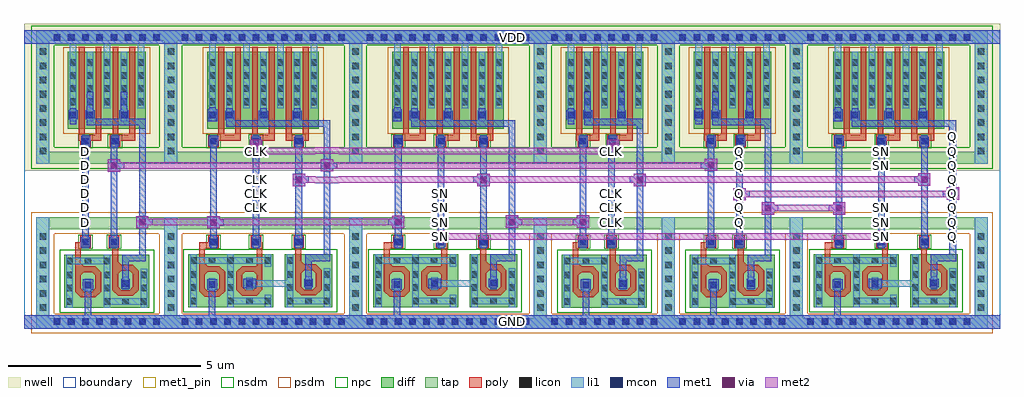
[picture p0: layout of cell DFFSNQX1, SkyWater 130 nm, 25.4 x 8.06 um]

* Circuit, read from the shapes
.subckt DFFSNQX1 CLK D GND Q SN VDD
XM1 n1 D GND GND sky130_fd_pr__nfet_01v8 w=2.6 l=0.1471
XM2 n1 n2 n3 GND sky130_fd_pr__nfet_01v8 w=2.56 l=0.1483
XM3 n4 n3 GND GND sky130_fd_pr__nfet_01v8 w=2.6 l=0.1482
XM4 n4 CLK n5 GND sky130_fd_pr__nfet_01v8 w=2.52 l=0.1455
XM5 n5 n6 n2 GND sky130_fd_pr__nfet_01v8 w=2.56 l=0.1457
XM6 n7 n3 GND GND sky130_fd_pr__nfet_01v8 w=2.6 l=0.1486
XM7 n7 SN n8 GND sky130_fd_pr__nfet_01v8 w=2.52 l=0.1455
XM8 n8 n6 n9 GND sky130_fd_pr__nfet_01v8 w=2.56 l=0.1455
XM9 n10 n9 GND GND sky130_fd_pr__nfet_01v8 w=2.6 l=0.1473
XM10 n10 CLK n6 GND sky130_fd_pr__nfet_01v8 w=2.56 l=0.1481
XM11 n11 n2 GND GND sky130_fd_pr__nfet_01v8 w=2.6 l=0.1472
XM12 n11 Q n12 GND sky130_fd_pr__nfet_01v8 w=2.56 l=0.1483
XM13 n13 n12 GND GND sky130_fd_pr__nfet_01v8 w=2.6 l=0.1486
XM14 n13 SN n14 GND sky130_fd_pr__nfet_01v8 w=2.52 l=0.1458
XM15 n14 n6 Q GND sky130_fd_pr__nfet_01v8 w=2.56 l=0.1459
XM16 n3 D VDD VDD sky130_fd_pr__pfet_01v8 w=2 l=0.15 m=2
XM17 n3 n2 VDD VDD sky130_fd_pr__pfet_01v8 w=2 l=0.15 m=2
XM18 n2 n3 VDD VDD sky130_fd_pr__pfet_01v8 w=2 l=0.15 m=2
XM19 n2 CLK VDD VDD sky130_fd_pr__pfet_01v8 w=2 l=0.15 m=2
XM20 n2 n6 VDD VDD sky130_fd_pr__pfet_01v8 w=2 l=0.15 m=2
XM21 n9 n3 VDD VDD sky130_fd_pr__pfet_01v8 w=2 l=0.15 m=2
XM22 n9 SN VDD VDD sky130_fd_pr__pfet_01v8 w=2 l=0.15 m=2
XM23 n9 n6 VDD VDD sky130_fd_pr__pfet_01v8 w=2 l=0.15 m=2
XM24 n6 n9 VDD VDD sky130_fd_pr__pfet_01v8 w=2 l=0.15 m=2
XM25 n6 CLK VDD VDD sky130_fd_pr__pfet_01v8 w=2 l=0.15 m=2
XM26 n12 n2 VDD VDD sky130_fd_pr__pfet_01v8 w=2 l=0.15 m=2
XM27 n12 Q VDD VDD sky130_fd_pr__pfet_01v8 w=2 l=0.15 m=2
XM28 Q n12 VDD VDD sky130_fd_pr__pfet_01v8 w=2 l=0.15 m=2
XM29 Q SN VDD VDD sky130_fd_pr__pfet_01v8 w=2 l=0.15 m=2
XM30 Q n6 VDD VDD sky130_fd_pr__pfet_01v8 w=2 l=0.15 m=2
.ends

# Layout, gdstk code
from math import pi, radians
import gdstk
lib = gdstk.Library(unit=1e-6, precision=1e-09)
def R(c, l, rs):  # rectangles x0, y0, x1, y1
    for r in rs: c.add(gdstk.rectangle(r[:2], r[2:], *l))
def A(c, l, x, y, w, h, nx, ny, dx, dy):  # array of equal rectangles
    R(c, l, [(x+i*dx, y+j*dy, x+i*dx+w, y+j*dy+h) for i in range(nx) for j in range(ny)])
def P(c, l, *ps):  # polygons
    for p in ps: c.add(gdstk.Polygon(p, *l))
nwell = (64, 20)
diff = (65, 20)
tap = (65, 44)
poly = (66, 20)
licon = (66, 44)
li1 = (67, 20)
mcon = (67, 44)
met1_pin = (68, 16)
met1 = (68, 20)
via = (68, 44)
met2 = (69, 20)
nsdm = (93, 44)
psdm = (94, 20)
npc = (95, 20)
boundary = (235, 4)

li1_m1_contact = lib.new_cell('li1_M1_contact')
R(li1_m1_contact, li1, [(-0.085,-0.165,0.085,0.165)])
R(li1_m1_contact, mcon, [(-0.085,-0.085,0.085,0.085)])
R(li1_m1_contact, met1, [(-0.115,-0.115,0.115,-0.085), (-0.265,-0.085,0.145,0.085), (-0.115,0.085,0.115,0.115)])

diff_ring_side = lib.new_cell('diff_ring_side')
R(diff_ring_side, nwell, [(-0.435,3.93,0.435,7.75)])
R(diff_ring_side, tap, [(-0.17,-0.17,0.17,2.72), (-0.17,4.11,0.17,7.57)])
A(diff_ring_side, licon, -0.085, 0.285, 0.17, 0.17, 1, 6, 0, 0.37)
A(diff_ring_side, licon, -0.085, 4.355, 0.17, 0.17, 1, 8, 0, 0.37)
R(diff_ring_side, li1, [(-0.17,-0.17,0.17,2.72), (-0.17,4.11,0.17,7.57)])
R(diff_ring_side, met1, [(-0.17,-0.17,0.17,0.17), (-0.17,7.23,0.17,7.57)])
R(diff_ring_side, nsdm, [(-0.295,3.985,0.295,7.695)])
R(diff_ring_side, psdm, [(-0.295,-0.295,0.295,2.845)])

nmos_bottom = lib.new_cell('nmos_bottom')
R(nmos_bottom, diff, [(0,0,1.24,1.38)])
R(nmos_bottom, poly, [(0.43,0.27,0.81,0.42), (0.28,0.42,0.43,0.925), (0.81,0.42,0.96,0.925), (0.43,0.925,0.96,1.075), (0.81,1.075,0.96,1.51)])
P(nmos_bottom, poly, [(0.73,1.075),(0.81,1.075),(0.81,1.155)],
  [(0.28,0.925),(0.43,0.925),(0.43,1.075)],
  [(0.43,0.845),(0.43,0.925),(0.51,0.925)],
  [(0.73,0.925),(0.81,0.925),(0.81,0.845)],
  [(0.43,0.5),(0.43,0.42),(0.51,0.42)],
  [(0.73,0.42),(0.81,0.42),(0.81,0.5)],
  [(0.28,0.42),(0.43,0.42),(0.43,0.27)],
  [(0.81,0.27),(0.81,0.42),(0.96,0.42)])
A(nmos_bottom, licon, 0.05, 1.13, 0.17, 0.17, 3, 1, 0.485, 0)
R(nmos_bottom, licon, [(0.05,0.08,0.22,0.25), (1.02,0.08,1.19,0.25), (0.05,0.43,0.22,0.6), (1.02,0.43,1.19,0.6), (0.535,0.505,0.705,0.675), (0.05,0.77,0.22,0.94), (1.02,0.77,1.19,0.94)])
R(nmos_bottom, li1, [(0.05,0,0.22,1.13), (1.02,0,1.19,1.13), (0.535,0.425,0.705,0.755), (0.05,1.13,1.19,1.3), (0.05,1.3,0.22,1.38), (1.02,1.3,1.19,1.38)])
R(nmos_bottom, nsdm, [(-0.125,-0.125,1.365,1.505)])

pmos2 = lib.new_cell('pmos2')
R(pmos2, nwell, [(0.26,-2.18,1.76,0.18)])
R(pmos2, diff, [(0.44,-2,1.58,0)])
R(pmos2, poly, [(0.72,-2.305,1.31,-2.155), (0.72,-2.155,0.87,0.13), (1.16,-2.155,1.31,0.13)])
A(pmos2, licon, 0.49, -1.38, 0.17, 0.17, 3, 4, 0.44, 0.34)
R(pmos2, li1, [(0.49,-1.465,0.66,0.21), (0.93,-1.465,1.1,0), (1.37,-1.465,1.54,0.21)])
R(pmos2, psdm, [(0.315,-2.125,1.705,0.125)])

poly_li1_contact = lib.new_cell('poly_li1_contact')
R(poly_li1_contact, poly, [(-0.16,-0.14,0.17,0.13)])
R(poly_li1_contact, licon, [(-0.08,-0.09,0.09,0.08)])
R(poly_li1_contact, li1, [(-0.16,-0.09,0.17,0.08)])
R(poly_li1_contact, npc, [(-0.18,-0.19,0.19,0.18)])

nmos_top_trim1 = lib.new_cell('nmos_top_trim1')
R(nmos_top_trim1, diff, [(0,0,1.24,1.38)])
R(nmos_top_trim1, poly, [(0.43,0.31,0.81,0.46), (0.28,0.46,0.43,0.965), (0.81,0.46,0.96,0.965), (0.43,0.965,0.96,1.115), (0.81,1.115,0.96,1.545)])
P(nmos_top_trim1, poly, [(0.73,1.115),(0.81,1.115),(0.81,1.195)],
  [(0.28,0.965),(0.43,0.965),(0.43,1.115)],
  [(0.43,0.885),(0.43,0.965),(0.51,0.965)],
  [(0.73,0.965),(0.81,0.965),(0.81,0.885)],
  [(0.43,0.54),(0.43,0.46),(0.51,0.46)],
  [(0.73,0.46),(0.81,0.46),(0.81,0.54)],
  [(0.28,0.46),(0.43,0.46),(0.43,0.31)],
  [(0.81,0.31),(0.81,0.46),(0.96,0.46)])
A(nmos_top_trim1, licon, 0.05, 0.08, 0.17, 0.17, 3, 1, 0.485, 0)
R(nmos_top_trim1, licon, [(0.05,0.43,0.22,0.6), (1.02,0.43,1.19,0.6), (0.535,0.55,0.705,0.72), (0.05,0.77,0.22,0.94), (1.02,0.77,1.19,0.94), (1.02,1.13,1.19,1.3)])
R(nmos_top_trim1, li1, [(0.05,0,0.22,0.08), (1.02,0,1.19,0.08), (0.05,0.08,1.19,0.25), (0.05,0.25,0.22,1.02), (1.02,0.25,1.19,1.38), (0.535,0.47,0.705,0.805)])
R(nmos_top_trim1, nsdm, [(-0.125,-0.125,1.365,1.505)])

nand2x1_pcell = lib.new_cell('nand2x1_pcell')
R(nand2x1_pcell, nwell, [(0.435,3.93,2.895,7.75)])
R(nand2x1_pcell, diff, [(1.115,5.265,1.345,5.5), (1.995,5.265,2.225,5.5), (0.705,5.295,0.875,5.465)])
R(nand2x1_pcell, tap, [(0.17,-0.17,3.16,-0.15), (0.155,-0.15,3.175,0.085), (0.155,2.4,0.17,2.41), (3.16,2.4,3.175,2.41), (0.155,2.41,3.175,2.71), (0.17,2.71,3.16,2.72), (0.17,4.11,3.16,4.42), (0.17,7.315,3.16,7.57)])
R(nand2x1_pcell, poly, [(0.84,1.875,0.99,2.065), (1.81,1.91,1.96,1.915)])
A(nand2x1_pcell, licon, 0.285, -0.085, 0.17, 0.17, 8, 2, 0.37, 7.4)
R(nand2x1_pcell, licon, [(0.705,5.295,0.875,5.465), (1.145,5.295,1.315,5.465), (2.025,5.295,2.195,5.465)])
R(nand2x1_pcell, li1, [(0.165,-0.17,3.295,0.17), (1.095,0.87,1.265,1.04), (2.065,0.915,2.235,1.085), (1.025,1.995,1.195,2.165), (1.765,1.995,1.935,2.165), (1.025,4.615,1.195,4.785), (1.795,4.615,1.965,4.785), (0.705,5.215,0.875,5.61), (1.145,5.215,1.315,5.61), (2.025,5.215,2.195,5.61), (-0.17,7.23,3.17,7.57)])
A(nand2x1_pcell, mcon, 0.285, -0.085, 0.17, 0.17, 8, 2, 0.37, 7.4)
R(nand2x1_pcell, mcon, [(1.095,0.87,1.265,1.04), (2.065,0.915,2.235,1.085), (1.025,1.995,1.195,2.165), (1.765,1.995,1.935,2.165), (1.025,4.615,1.195,4.785), (1.795,4.615,1.965,4.785), (0.705,5.295,0.875,5.465), (1.145,5.295,1.315,5.465), (2.025,5.295,2.195,5.465)])
R(nand2x1_pcell, met1, [(-0.17,-0.17,3.5,0.17), (1.095,0.17,1.265,0.825), (1.045,0.825,1.31,1.1), (2.035,0.855,2.265,1.12), (2.065,1.12,2.235,1.57), (2.065,1.57,2.675,1.74), (2.505,1.74,2.675,5.115), (0.99,1.935,1.23,2.205), (1.735,1.935,1.97,2.205), (1.025,2.205,1.195,4.56), (1.765,2.205,1.935,4.555), (1.765,4.555,1.97,4.58), (0.995,4.56,1.23,4.845), (1.765,4.58,1.995,4.845), (1.145,5.115,2.675,5.265), (0.705,5.135,0.875,5.265), (0.675,5.265,0.905,5.5), (1.115,5.265,2.675,5.285), (1.115,5.285,1.345,5.5), (1.995,5.285,2.225,5.5), (0.705,5.5,0.875,5.555), (1.145,5.5,1.315,5.98), (2.025,5.5,2.195,5.98), (-0.17,7.23,3.5,7.57)])
R(nand2x1_pcell, nsdm, [(0.045,3.985,3.285,4.545), (0.045,7.19,3.285,7.695)])
R(nand2x1_pcell, psdm, [(0.045,-0.295,3.285,-0.275), (0.03,-0.275,3.3,0.21), (0.03,2.275,0.295,2.285), (3.035,2.275,3.3,2.285), (0.03,2.285,3.3,2.835), (0.045,2.835,3.285,2.845), (0.99,5.14,1.47,5.17), (1.87,5.14,2.35,5.625), (0.58,5.17,1.47,5.59), (0.99,5.59,1.47,5.625)])
nand2x1_pcell.add(gdstk.Reference(diff_ring_side, (0,0)))
nand2x1_pcell.add(gdstk.Reference(nmos_bottom, (1.8,0.365), rotation=pi, x_reflection=True))
nand2x1_pcell.add(gdstk.Reference(pmos2, (0.215,7.02)))
nand2x1_pcell.add(gdstk.Reference(poly_li1_contact, (1.115,4.705), rotation=3*pi/2))
nand2x1_pcell.add(gdstk.Reference(poly_li1_contact, (1.115,2.085), rotation=3*pi/2))
nand2x1_pcell.add(gdstk.Reference(nmos_top_trim1, (2.77,0.365), rotation=pi, x_reflection=True))
nand2x1_pcell.add(gdstk.Reference(pmos2, (1.095,7.02)))
nand2x1_pcell.add(gdstk.Reference(poly_li1_contact, (1.845,2.075), rotation=pi/2))
nand2x1_pcell.add(gdstk.Reference(poly_li1_contact, (1.885,4.705), rotation=3*pi/2))
nand2x1_pcell.add(gdstk.Reference(diff_ring_side, (3.33,0)))

nmos_side_left = lib.new_cell('nmos_side_left')
R(nmos_side_left, diff, [(0,0,1.24,1.38)])
R(nmos_side_left, poly, [(0.435,0.305,0.81,0.455), (0.285,0.455,0.435,0.925), (0.81,0.455,0.96,0.925), (0.435,0.925,0.96,1.075), (0.81,1.075,0.96,1.51)])
P(nmos_side_left, poly, [(0.285,0.925),(0.435,0.925),(0.435,1.075)],
  [(0.435,0.845),(0.435,0.925),(0.515,0.925)],
  [(0.73,0.925),(0.81,0.925),(0.81,0.845)],
  [(0.435,0.535),(0.435,0.455),(0.515,0.455)],
  [(0.73,0.455),(0.81,0.455),(0.81,0.535)],
  [(0.285,0.455),(0.435,0.455),(0.435,0.305)],
  [(0.81,0.305),(0.81,0.455),(0.96,0.455)])
A(nmos_side_left, licon, 0.05, 0.08, 0.17, 0.17, 3, 2, 0.485, 1.05)
R(nmos_side_left, licon, [(0.05,0.43,0.22,0.6), (0.54,0.535,0.71,0.705), (0.05,0.77,0.22,0.94)])
R(nmos_side_left, li1, [(0.05,0,0.22,0.08), (1.02,0,1.19,0.08), (0.05,0.08,1.19,0.25), (0.05,0.25,0.22,1.13), (1.02,0.25,1.19,0.33), (0.54,0.455,0.71,0.785), (1.02,1.05,1.19,1.13), (0.05,1.13,1.19,1.3), (0.05,1.3,0.22,1.38), (1.02,1.3,1.19,1.38)])
R(nmos_side_left, nsdm, [(-0.125,-0.125,1.365,1.505)])

nand3x1_pcell = lib.new_cell('nand3x1_pcell')
R(nand3x1_pcell, nwell, [(0.435,3.93,4.375,5.28), (0.435,5.28,1.1,5.295), (1.395,5.28,4.375,5.495), (0.435,5.295,1.025,5.465), (1.145,5.295,1.315,5.465), (0.435,5.465,1.1,5.495), (0.435,5.495,4.375,7.75)])
A(nand3x1_pcell, diff, 1.445, 5.295, 0.17, 0.17, 3, 1, 0.88, 0)
R(nand3x1_pcell, diff, [(1.005,5.295,1.175,5.465)])
R(nand3x1_pcell, tap, [(0.17,-0.17,4.64,0.085), (0.17,2.41,4.64,2.72), (0.17,4.11,4.64,4.42), (0.17,7.315,4.64,7.57)])
R(nand3x1_pcell, poly, [(0.735,1.885,0.885,1.915), (2.235,1.885,2.385,1.915), (0.735,1.915,0.975,2.065), (2.355,1.915,2.385,2.065)])
A(nand3x1_pcell, licon, 0.285, -0.085, 0.17, 0.17, 12, 2, 0.37, 7.4)
A(nand3x1_pcell, licon, 1.445, 5.295, 0.17, 0.17, 3, 1, 0.88, 0)
R(nand3x1_pcell, licon, [(1.005,5.295,1.175,5.465)])
A(nand3x1_pcell, li1, 1.025, 1.995, 0.17, 0.17, 3, 2, 1.11, 2.62)
R(nand3x1_pcell, li1, [(0.17,-0.17,4.65,0.17), (0.99,0.88,1.16,1.05), (1.965,0.91,3.015,1.08), (3.5,0.925,3.67,1.095), (1.005,5.215,1.175,5.6), (1.445,5.215,1.615,5.56), (2.325,5.215,2.495,5.585), (3.205,5.215,3.375,5.56), (0.07,7.23,4.715,7.57)])
A(nand3x1_pcell, mcon, 0.285, -0.085, 0.17, 0.17, 12, 2, 0.37, 7.4)
A(nand3x1_pcell, mcon, 1.025, 1.995, 0.17, 0.17, 3, 2, 1.11, 2.62)
A(nand3x1_pcell, mcon, 1.445, 5.295, 0.17, 0.17, 3, 1, 0.88, 0)
R(nand3x1_pcell, mcon, [(0.99,0.88,1.16,1.05), (1.965,0.91,2.135,1.08), (3.5,0.925,3.67,1.095), (1.005,5.295,1.175,5.465)])
A(nand3x1_pcell, met1, 1.025, 1.915, 0.17, 0.04, 3, 1, 1.11, 0)
A(nand3x1_pcell, met1, 1.445, 5.495, 0.17, 0.06, 3, 1, 0.88, 0)
R(nand3x1_pcell, met1, [(0.17,-0.17,4.64,0.17), (0.99,0.17,1.16,0.835), (0.945,0.835,1.205,1.11), (1.89,0.865,2.225,1.115), (3.5,0.865,3.67,0.895), (3.47,0.895,3.7,1.125), (3.5,1.125,3.67,1.58), (3.5,1.58,4.155,1.75), (3.985,1.75,4.155,5.07), (0.995,1.955,1.225,2.195), (2.105,1.955,2.34,2.195), (3.215,1.955,3.445,2.195), (1.025,2.195,1.195,4.575), (2.135,2.195,2.305,4.585), (3.245,2.195,3.415,4.57), (3.215,4.57,3.445,4.815), (0.99,4.575,1.23,4.835), (2.105,4.585,2.335,4.815), (2.135,4.815,2.305,4.845), (3.245,4.815,3.415,4.845), (1.025,4.835,1.195,4.845), (1.445,5.07,4.155,5.24), (0.965,5.215,1.205,5.535), (1.415,5.24,1.65,5.495), (2.29,5.24,2.53,5.495), (3.175,5.24,3.405,5.495), (1.005,5.535,1.175,5.58), (0.17,7.23,4.64,7.57)])
R(nand3x1_pcell, nsdm, [(2.79,0.25,2.84,1.88), (0.045,3.985,4.765,4.545), (0.045,7.19,4.765,7.695)])
R(nand3x1_pcell, psdm, [(0.045,-0.295,4.765,0.21), (0.045,2.285,4.765,2.845), (0.88,5.17,1.74,5.59), (2.2,5.17,2.62,5.59), (3.08,5.17,3.5,5.59)])
nand3x1_pcell.add(gdstk.Reference(diff_ring_side, (0,0)))
nand3x1_pcell.add(gdstk.Reference(nmos_bottom, (1.695,0.375), rotation=pi, x_reflection=True))
nand3x1_pcell.add(gdstk.Reference(pmos2, (0.515,7.02)))
nand3x1_pcell.add(gdstk.Reference(poly_li1_contact, (1.115,4.705), rotation=3*pi/2))
nand3x1_pcell.add(gdstk.Reference(poly_li1_contact, (1.105,2.075), rotation=pi/2))
nand3x1_pcell.add(gdstk.Reference(nmos_side_left, (1.425,0.375)))
nand3x1_pcell.add(gdstk.Reference(pmos2, (1.395,7.02)))
nand3x1_pcell.add(gdstk.Reference(pmos2, (2.275,7.02)))
nand3x1_pcell.add(gdstk.Reference(poly_li1_contact, (2.215,2.075), rotation=pi/2))
nand3x1_pcell.add(gdstk.Reference(poly_li1_contact, (2.215,4.695), rotation=pi/2))
nand3x1_pcell.add(gdstk.Reference(nmos_top_trim1, (4.205,0.375), rotation=pi, x_reflection=True))
nand3x1_pcell.add(gdstk.Reference(poly_li1_contact, (3.325,2.075), rotation=pi/2))
nand3x1_pcell.add(gdstk.Reference(poly_li1_contact, (3.335,4.705), rotation=3*pi/2))
nand3x1_pcell.add(gdstk.Reference(diff_ring_side, (4.81,0)))

dffsnx1_pcell = lib.new_cell('dffsnx1_pcell')
R(dffsnx1_pcell, met1, [(10.2,2.05,10.52,2.37), (21.66,2.05,21.98,2.37), (2.43,2.43,2.75,2.75), (4.28,2.43,4.6,2.75), (9.09,2.435,9.41,2.755), (12.05,2.445,12.37,2.765), (13.895,2.445,14.215,2.765), (6.505,3.525,6.825,3.845), (11.31,3.525,11.63,3.845), (15.375,3.525,15.695,3.845), (22.78,3.545,23.1,3.865), (1.69,3.905,2.01,4.225), (7.235,3.91,7.555,4.23), (17.23,3.925,17.55,4.245), (14.675,4.41,14.995,4.73), (5.39,4.415,5.71,4.735)])
R(dffsnx1_pcell, via, [(10.285,2.135,10.435,2.285), (21.745,2.135,21.895,2.285), (2.515,2.515,2.665,2.665), (4.365,2.515,4.515,2.665), (9.175,2.52,9.325,2.67), (12.135,2.53,12.285,2.68), (13.98,2.53,14.13,2.68), (6.59,3.61,6.74,3.76), (11.395,3.61,11.545,3.76), (15.46,3.61,15.61,3.76), (22.865,3.63,23.015,3.78), (1.775,3.99,1.925,4.14), (7.32,3.995,7.47,4.145), (17.315,4.01,17.465,4.16), (14.76,4.495,14.91,4.645), (5.475,4.5,5.625,4.65)])
R(dffsnx1_pcell, met2, [(10.2,2.05,10.52,2.135), (21.66,2.05,21.98,2.135), (10.2,2.135,21.98,2.305), (10.2,2.305,10.52,2.37), (21.66,2.305,21.98,2.37), (2.43,2.43,2.75,2.505), (4.28,2.43,4.6,2.505), (9.09,2.435,9.41,2.505), (12.05,2.445,12.37,2.505), (13.895,2.445,14.215,2.505), (2.43,2.505,9.41,2.675), (12.05,2.505,14.215,2.675), (2.43,2.675,2.75,2.75), (4.28,2.675,4.6,2.75), (9.09,2.675,9.41,2.755), (12.05,2.675,12.37,2.765), (13.895,2.675,14.215,2.765), (6.505,3.525,6.825,3.615), (11.31,3.525,11.63,3.615), (15.375,3.525,15.695,3.615), (22.78,3.545,23.1,3.615), (7.095,3.6,7.695,3.615), (6.505,3.615,23.1,3.77), (6.505,3.77,7.095,3.785), (7.695,3.77,23.1,3.785), (6.505,3.785,6.825,3.845), (11.31,3.785,11.63,3.845), (15.375,3.785,15.695,3.845), (22.78,3.785,23.1,3.865), (1.69,3.905,2.01,3.985), (7.235,3.91,7.555,3.985), (17.23,3.925,17.55,3.985), (1.69,3.985,17.55,4.155), (1.69,4.155,2.01,4.225), (7.235,4.155,7.555,4.23), (17.23,4.155,17.55,4.245), (5.465,4.355,7.095,4.37), (7.695,4.355,14.905,4.37), (5.465,4.37,14.905,4.41), (5.465,4.41,14.995,4.415), (5.39,4.415,14.995,4.525), (5.39,4.525,5.71,4.735), (7.095,4.525,7.695,4.54), (14.675,4.525,14.995,4.73)])
dffsnx1_pcell.add(gdstk.Reference(li1_m1_contact, (1.85,4.07), rotation=pi))
dffsnx1_pcell.add(gdstk.Reference(li1_m1_contact, (2.59,2.59), rotation=pi))
dffsnx1_pcell.add(gdstk.Reference(li1_m1_contact, (4.44,2.585), rotation=pi))
dffsnx1_pcell.add(gdstk.Reference(nand2x1_pcell, (0,0)))
dffsnx1_pcell.add(gdstk.Reference(nand3x1_pcell, (3.33,0)))
dffsnx1_pcell.add(gdstk.Reference(li1_m1_contact, (6.66,3.7), rotation=pi))
dffsnx1_pcell.add(gdstk.Reference(li1_m1_contact, (9.25,2.59)))
dffsnx1_pcell.add(gdstk.Reference(li1_m1_contact, (7.395,4.07), rotation=pi))
dffsnx1_pcell.add(gdstk.Reference(nand3x1_pcell, (8.14,0)))
dffsnx1_pcell.add(gdstk.Reference(li1_m1_contact, (15.54,3.7)))
dffsnx1_pcell.add(gdstk.Reference(li1_m1_contact, (11.47,3.7)))
dffsnx1_pcell.add(gdstk.Reference(li1_m1_contact, (12.21,2.59), rotation=pi))
dffsnx1_pcell.add(gdstk.Reference(li1_m1_contact, (14.06,2.59)))
dffsnx1_pcell.add(gdstk.Reference(nand2x1_pcell, (12.95,0)))
dffsnx1_pcell.add(gdstk.Reference(nand2x1_pcell, (16.28,0)))
dffsnx1_pcell.add(gdstk.Reference(li1_m1_contact, (17.39,4.07)))
dffsnx1_pcell.add(gdstk.Reference(nand3x1_pcell, (19.61,0)))
dffsnx1_pcell.add(gdstk.Reference(li1_m1_contact, (22.94,3.7)))

dffsnqx1 = lib.new_cell('DFFSNQX1')
R(dffsnqx1, nwell, [(0,4.11,25.4,7.94)])
R(dffsnqx1, tap, [(0.32,0,25.08,0.105), (0.32,7.75,25.08,7.76)])
R(dffsnqx1, li1, [(0,0,25.4,0.35), (0,7.41,25.4,7.76)])
A(dffsnqx1, met1_pin, 10.765, 2.315, 0.17, 0.17, 1, 4, 0, 0.37)
A(dffsnqx1, met1_pin, 22.235, 2.315, 0.17, 0.17, 1, 3, 0, 0.37)
A(dffsnqx1, met1_pin, 24.085, 2.315, 0.17, 0.17, 1, 8, 0, 0.37)
A(dffsnqx1, met1_pin, 1.515, 2.685, 0.17, 0.17, 1, 6, 0, 0.37)
A(dffsnqx1, met1_pin, 15.205, 2.685, 0.17, 0.17, 1, 3, 0, 0.37)
A(dffsnqx1, met1_pin, 18.535, 2.685, 0.17, 0.17, 1, 3, 0, 0.37)
A(dffsnqx1, met1_pin, 5.955, 3.055, 0.17, 0.17, 1, 3, 0, 0.37)
R(dffsnqx1, met1_pin, [(0,0,25.4,0.35), (18.535,4.165,18.705,4.335), (22.235,4.165,22.405,4.335), (5.955,4.535,6.125,4.705), (15.205,4.535,15.375,4.705), (18.535,4.535,18.705,4.705), (22.235,4.535,22.405,4.705), (0,7.41,25.4,7.76)])
A(dffsnqx1, met1, 10.765, 2.315, 0.17, 0.17, 1, 4, 0, 0.37)
A(dffsnqx1, met1, 22.235, 2.315, 0.17, 0.17, 1, 3, 0, 0.37)
A(dffsnqx1, met1, 24.085, 2.315, 0.17, 0.17, 1, 3, 0, 0.37)
A(dffsnqx1, met1, 1.515, 2.685, 0.17, 0.17, 1, 6, 0, 0.37)
A(dffsnqx1, met1, 15.205, 2.685, 0.17, 0.17, 1, 3, 0, 0.37)
A(dffsnqx1, met1, 5.955, 3.055, 0.17, 0.17, 1, 3, 0, 0.37)
A(dffsnqx1, met1, 24.085, 3.795, 0.17, 0.17, 1, 4, 0, 0.37)
R(dffsnqx1, met1, [(0,0,25.4,0.35), (18.535,2.685,18.705,2.855), (19.2,2.965,19.52,3.285), (21.055,2.965,21.375,3.285), (18.535,3.055,18.705,3.225), (18.46,3.335,18.78,3.655), (24.015,3.36,24.335,3.68), (18.535,4.165,18.705,4.335), (22.235,4.165,22.405,4.335), (5.955,4.535,6.125,4.705), (15.205,4.535,15.375,4.705), (18.535,4.535,18.705,4.705), (22.235,4.535,22.405,4.705), (0,7.41,25.4,7.76)])
R(dffsnqx1, via, [(19.285,3.05,19.435,3.2), (21.14,3.05,21.29,3.2), (18.545,3.42,18.695,3.57), (24.1,3.445,24.25,3.595)])
R(dffsnqx1, met2, [(19.2,2.965,19.52,3.055), (21.055,2.965,21.375,3.055), (19.2,3.055,21.375,3.225), (19.2,3.225,19.52,3.285), (21.055,3.225,21.375,3.285), (18.46,3.335,18.78,3.425), (24.015,3.36,24.335,3.425), (23.13,3.415,23.73,3.425), (18.46,3.425,24.335,3.585), (18.46,3.585,23.13,3.595), (23.73,3.585,24.335,3.595), (18.46,3.595,18.78,3.655), (24.015,3.595,24.335,3.68)])
R(dffsnqx1, nsdm, [(0.195,7.625,25.205,7.885)])
R(dffsnqx1, psdm, [(0.195,-0.125,25.205,0.23)])
R(dffsnqx1, boundary, [(0,0,25.4,7.76)])
dffsnqx1.add(gdstk.Reference(li1_m1_contact, (24.17,3.51)))
dffsnqx1.add(gdstk.Reference(li1_m1_contact, (18.62,3.51), rotation=pi))
dffsnqx1.add(gdstk.Reference(li1_m1_contact, (19.36,3.14), rotation=pi))
dffsnqx1.add(gdstk.Reference(li1_m1_contact, (21.21,3.14)))
dffsnqx1.add(gdstk.Reference(dffsnx1_pcell, (0.49,0.18)))
dffsnqx1.add(gdstk.Label('Q', (18.62,4.62), layer=68, texttype=5))
dffsnqx1.add(gdstk.Label('Q', (18.62,4.25), layer=68, texttype=5))
dffsnqx1.add(gdstk.Label('Q', (18.62,3.51), layer=68, texttype=5))
dffsnqx1.add(gdstk.Label('Q', (18.62,3.14), layer=68, texttype=5))
dffsnqx1.add(gdstk.Label('Q', (18.62,2.77), layer=68, texttype=5))
dffsnqx1.add(gdstk.Label('Q', (24.17,2.4), layer=68, texttype=5))
dffsnqx1.add(gdstk.Label('Q', (24.17,2.77), layer=68, texttype=5))
dffsnqx1.add(gdstk.Label('Q', (24.17,3.14), layer=68, texttype=5))
dffsnqx1.add(gdstk.Label('Q', (24.17,4.99), layer=68, texttype=5))
dffsnqx1.add(gdstk.Label('Q', (24.17,4.62), layer=68, texttype=5))
dffsnqx1.add(gdstk.Label('Q', (24.17,4.25), layer=68, texttype=5))
dffsnqx1.add(gdstk.Label('Q', (24.17,3.88), layer=68, texttype=5))
dffsnqx1.add(gdstk.Label('Q', (24.17,3.51), layer=68, texttype=5))
dffsnqx1.add(gdstk.Label('D', (1.6,3.88), layer=68, texttype=5))
dffsnqx1.add(gdstk.Label('D', (1.6,4.62), layer=68, texttype=5))
dffsnqx1.add(gdstk.Label('D', (1.6,2.77), layer=68, texttype=5))
dffsnqx1.add(gdstk.Label('D', (1.6,3.14), layer=68, texttype=5))
dffsnqx1.add(gdstk.Label('D', (1.6,3.51), layer=68, texttype=5))
dffsnqx1.add(gdstk.Label('D', (1.6,4.25), layer=68, texttype=5))
dffsnqx1.add(gdstk.Label('CLK', (15.29,4.62), layer=68, texttype=5))
dffsnqx1.add(gdstk.Label('CLK', (15.29,2.77), layer=68, texttype=5))
dffsnqx1.add(gdstk.Label('CLK', (15.29,3.51), layer=68, texttype=5))
dffsnqx1.add(gdstk.Label('CLK', (15.29,3.14), layer=68, texttype=5))
dffsnqx1.add(gdstk.Label('CLK', (6.04,4.62), layer=68, texttype=5))
dffsnqx1.add(gdstk.Label('CLK', (6.04,3.14), layer=68, texttype=5))
dffsnqx1.add(gdstk.Label('CLK', (6.04,3.51), layer=68, texttype=5))
dffsnqx1.add(gdstk.Label('CLK', (6.04,3.88), layer=68, texttype=5))
dffsnqx1.add(gdstk.Label('SN', (22.32,4.62), layer=68, texttype=5))
dffsnqx1.add(gdstk.Label('SN', (22.32,4.25), layer=68, texttype=5))
dffsnqx1.add(gdstk.Label('SN', (22.32,3.14), layer=68, texttype=5))
dffsnqx1.add(gdstk.Label('SN', (22.32,2.4), layer=68, texttype=5))
dffsnqx1.add(gdstk.Label('SN', (22.32,2.77), layer=68, texttype=5))
dffsnqx1.add(gdstk.Label('SN', (10.85,3.51), layer=68, texttype=5))
dffsnqx1.add(gdstk.Label('SN', (10.85,3.14), layer=68, texttype=5))
dffsnqx1.add(gdstk.Label('SN', (10.85,2.77), layer=68, texttype=5))
dffsnqx1.add(gdstk.Label('SN', (10.85,2.4), layer=68, texttype=5))
dffsnqx1.add(gdstk.Label('VDD', (12.7,7.585), layer=68, texttype=5))
dffsnqx1.add(gdstk.Label('GND', (12.7,0.175), layer=68, texttype=5))

lib.write_gds('DFFSNQX1.gds')
